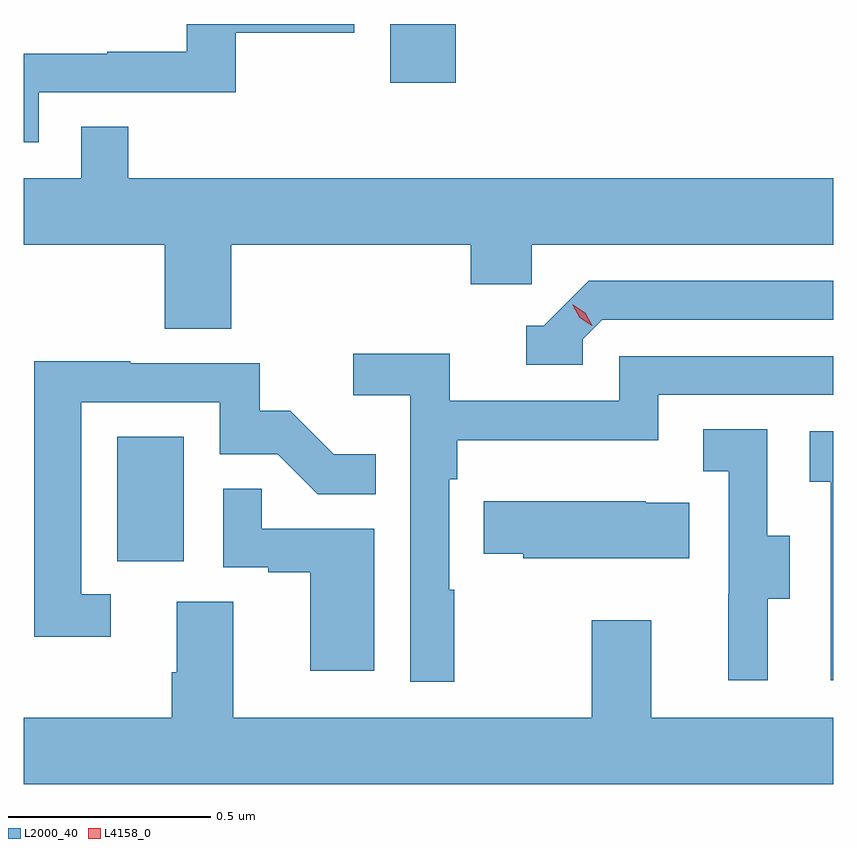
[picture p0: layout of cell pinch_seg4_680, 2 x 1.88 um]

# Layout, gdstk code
import gdstk
lib = gdstk.Library(unit=1e-6, precision=1e-09)
def R(c, l, rs):  # rectangles x0, y0, x1, y1
    for r in rs: c.add(gdstk.rectangle(r[:2], r[2:], *l))
def P(c, l, *ps):  # polygons
    for p in ps: c.add(gdstk.Polygon(p, *l))
L2000_40 = (2000, 40)
L4158_0 = (4158, 0)

pinch_seg4_680 = lib.new_cell('pinch_seg4_680')
R(pinch_seg4_680, L2000_40, [(1115.924,758.742,1116.088,759.049), (1116.599,759.924,1116.76,760.069)])
P(pinch_seg4_680, L2000_40, [(1115.73,759.9),(1116.217,759.9),(1116.217,760.047),(1116.51,760.047),(1116.51,760.069),(1116.096,760.069),(1116.096,760.001),(1115.899,760.001),(1115.899,759.996),(1115.693,759.996),(1115.693,759.777),(1115.73,759.777)],
  [(1116.206,759.524),(1116.797,759.524),(1116.797,759.426),(1116.948,759.426),(1116.948,759.524),(1117.693,759.524),(1117.693,759.688),(1115.951,759.688),(1115.951,759.815),(1115.835,759.815),(1115.835,759.688),(1115.693,759.688),(1115.693,759.524),(1116.041,759.524),(1116.041,759.316),(1116.206,759.316)],
  [(1117.074,759.291),(1117.122,759.339),(1117.693,759.339),(1117.693,759.435),(1117.089,759.435),(1116.978,759.324),(1116.935,759.324),(1116.935,759.228),(1117.074,759.228)],
  [(1116.757,758.672),(1116.744,758.672),(1116.744,758.945),(1116.764,758.945),(1116.764,759.041),(1117.26,759.041),(1117.26,759.153),(1117.693,759.153),(1117.693,759.249),(1117.164,759.249),(1117.164,759.138),(1116.746,759.138),(1116.746,759.254),(1116.507,759.254),(1116.507,759.152),(1116.648,759.152),(1116.648,758.445),(1116.757,758.445)],
  [(1115.908,758.661),(1115.835,758.661),(1115.835,759.135),(1116.177,759.135),(1116.177,759.006),(1116.321,759.006),(1116.419,758.908),(1116.563,758.908),(1116.563,759.007),(1116.459,759.007),(1116.352,759.114),(1116.276,759.114),(1116.276,759.231),(1115.957,759.231),(1115.957,759.236),(1115.719,759.236),(1115.719,758.556),(1115.908,758.556)],
  [(1117.531,758.65),(1117.585,758.65),(1117.585,758.805),(1117.53,758.805),(1117.53,759.068),(1117.371,759.068),(1117.371,758.965),(1117.434,758.965),(1117.434,758.661),(1117.433,758.661),(1117.433,758.448),(1117.531,758.448)],
  [(1117.693,759.063),(1117.635,759.063),(1117.635,758.939),(1117.686,758.939),(1117.686,758.448),(1117.693,758.448)],
  [(1116.559,758.823),(1116.281,758.823),(1116.281,758.921),(1116.186,758.921),(1116.186,758.727),(1116.297,758.727),(1116.297,758.715),(1116.401,758.715),(1116.401,758.472),(1116.559,758.472)],
  [(1117.337,758.887),(1117.229,758.887),(1117.229,758.89),(1116.829,758.89),(1116.829,758.761),(1116.927,758.761),(1116.927,758.75),(1117.337,758.75)],
  [(1117.693,758.356),(1117.243,758.356),(1117.243,758.596),(1117.096,758.596),(1117.096,758.356),(1116.211,758.356),(1116.211,758.642),(1116.071,758.642),(1116.071,758.468),(1116.059,758.468),(1116.059,758.356),(1115.693,758.356),(1115.693,758.192),(1117.693,758.192)])
P(pinch_seg4_680, L4158_0, [(1117.096,759.324),(1117.066,759.343),(1117.049,759.375),(1117.049,759.376),(1117.05,759.376),(1117.08,759.356),(1117.097,759.324),(1117.097,759.324)])

lib.write_gds('pinch_seg4_680.gds')
